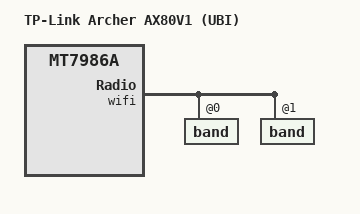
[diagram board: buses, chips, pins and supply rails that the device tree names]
// SPDX-License-Identifier: GPL-2.0-or-later OR MIT

/dts-v1/;
#include "mt7986a-tplink-archer-ax80-v1-common.dtsi"

/ {
	compatible = "tplink,archer-ax80-v1-ubi", "mediatek,mt7986a";
	model = "TP-Link Archer AX80V1 (UBI)";
};

&aliases {
	label-mac-device = &gmac0;
};

&chosen {
	bootargs-append = " root=/dev/fit0 rootwait";
	rootdisk = <&ubi_rootdisk>;
};

&gmac0 {
	nvmem-cells = <&macaddr_factory_8000 0>;
	nvmem-cell-names = "mac-address";
};

&gmac1 {
	nvmem-cells = <&macaddr_factory_8000 1>;
	nvmem-cell-names = "mac-address";
};

&partitions {
	partition@0 {
		label = "bl2";
		reg = <0x0 0x100000>;
		read-only;
	};

	partition@100000 {
		label = "ubi";
		reg = <0x100000 0x7f00000>;
		compatible = "linux,ubi";

		volumes {
			ubi_factory: ubi-volume-factory {
				volname = "factory";
			};

			ubi_rootdisk: ubi-volume-fit {
				volname = "fit";
			};

			ubi-volume-ubootenv {
				volname = "ubootenv";
				nvmem-layout {
					compatible = "u-boot,env-redundant-bool";
				};
			};

			ubi-volume-ubootenv2 {
				volname = "ubootenv2";
				nvmem-layout {
					compatible = "u-boot,env-redundant-bool";
				};
			};
		};
	};
};

&ubi_factory {
	nvmem-layout {
		compatible = "fixed-layout";
		#address-cells = <1>;
		#size-cells = <1>;

		eeprom_factory_0: eeprom@0 {
			reg = <0x0 0x1000>;
		};

		macaddr_factory_8000: macaddr@8000 {
			compatible = "mac-base";
			reg = <0x8000 0x6>;
			#nvmem-cell-cells = <1>;
		};
	};
};

&wifi {
	nvmem-cells = <&eeprom_factory_0>;
	nvmem-cell-names = "eeprom";

	band@0 {
		reg = <0>;
		nvmem-cells = <&macaddr_factory_8000 0>;
		nvmem-cell-names = "mac-address";
	};

	band@1 {
		reg = <1>;
		nvmem-cells = <&macaddr_factory_8000 (-1)>;
		nvmem-cell-names = "mac-address";
	};
};
